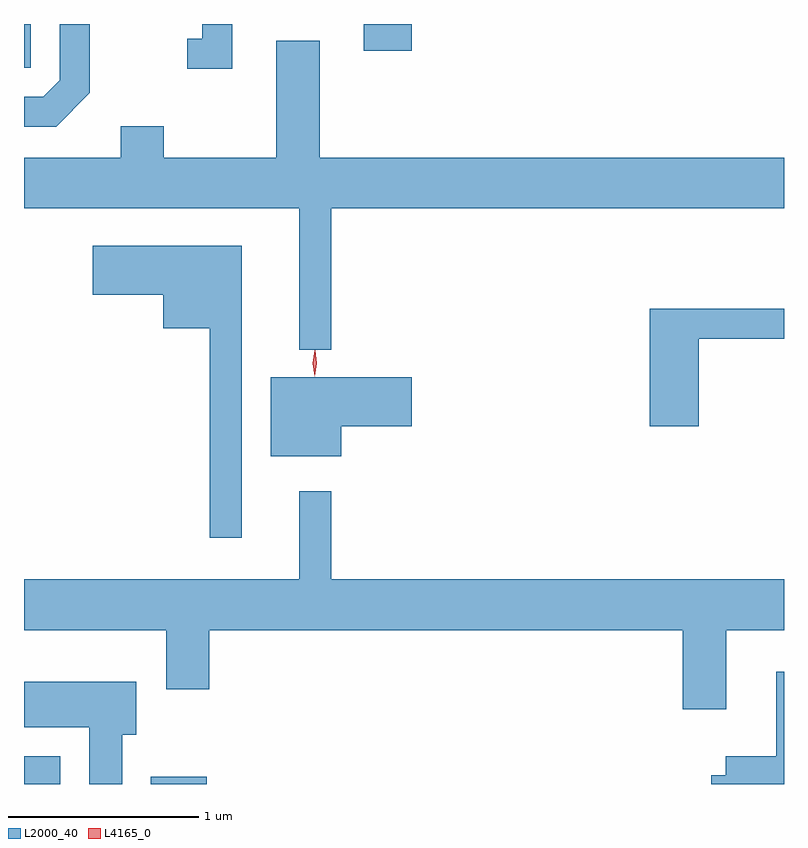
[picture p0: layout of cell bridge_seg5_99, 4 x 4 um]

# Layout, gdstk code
import gdstk
lib = gdstk.Library(unit=1e-6, precision=1e-09)
def R(c, l, rs):  # rectangles x0, y0, x1, y1
    for r in rs: c.add(gdstk.rectangle(r[:2], r[2:], *l))
def P(c, l, *ps):  # polygons
    for p in ps: c.add(gdstk.Polygon(p, *l))
L2000_40 = (2000, 40)
L4165_0 = (4165, 0)

bridge_seg5_99 = lib.new_cell('bridge_seg5_99')
R(bridge_seg5_99, L2000_40, [(1223.923,1484.847,1224.114,1484.994), (1224.591,1484.847,1224.884,1484.884), (1223.923,1488.616,1223.959,1488.847), (1225.711,1488.706,1225.964,1488.847)])
P(bridge_seg5_99, L2000_40, [(1224.269,1488.484),(1224.269,1488.847),(1224.111,1488.847),(1224.111,1488.552),(1224.024,1488.464),(1223.923,1488.464),(1223.923,1488.306),(1224.092,1488.306)],
  [(1225.019,1488.847),(1224.861,1488.847),(1224.861,1488.769),(1224.783,1488.769),(1224.783,1488.611),(1225.019,1488.611)],
  [(1225.539,1487.876),(1227.923,1487.876),(1227.923,1488.144),(1225.479,1488.144),(1225.479,1488.759),(1225.251,1488.759),(1225.251,1488.144),(1224.659,1488.144),(1224.659,1488.309),(1224.431,1488.309),(1224.431,1488.144),(1223.923,1488.144),(1223.923,1487.876),(1225.371,1487.876),(1225.371,1487.133),(1225.539,1487.133)],
  [(1225.069,1487.679),(1224.286,1487.679),(1224.286,1487.421),(1224.656,1487.421),(1224.656,1487.246),(1224.901,1487.246),(1224.901,1486.143),(1225.069,1486.143)],
  [(1227.474,1487.191),(1227.923,1487.191),(1227.923,1487.349),(1227.216,1487.349),(1227.216,1486.731),(1227.474,1486.731)],
  [(1225.594,1486.731),(1225.964,1486.731),(1225.964,1486.989),(1225.221,1486.989),(1225.221,1486.571),(1225.594,1486.571)],
  [(1227.619,1485.656),(1227.923,1485.656),(1227.923,1485.924),(1225.539,1485.924),(1225.539,1486.388),(1225.371,1486.388),(1225.371,1485.924),(1223.923,1485.924),(1223.923,1485.656),(1224.671,1485.656),(1224.671,1485.346),(1224.899,1485.346),(1224.899,1485.656),(1227.391,1485.656),(1227.391,1485.241),(1227.619,1485.241)],
  [(1227.923,1485.438),(1227.881,1485.438),(1227.881,1484.994),(1227.616,1484.994),(1227.616,1484.894),(1227.541,1484.894),(1227.541,1484.847),(1227.923,1484.847)],
  [(1224.439,1485.106),(1224.514,1485.106),(1224.514,1485.384),(1223.923,1485.384),(1223.923,1485.146),(1224.266,1485.146),(1224.266,1484.847),(1224.439,1484.847)])
P(bridge_seg5_99, L4165_0, [(1225.452,1487),(1225.452,1487.001),(1225.444,1487.064),(1225.454,1487.126),(1225.454,1487.127),(1225.455,1487.126),(1225.463,1487.063),(1225.453,1487.001)],
  [(1225.452,1486.994),(1225.444,1487.062),(1225.454,1487.13),(1225.454,1487.13),(1225.455,1487.13),(1225.464,1487.062),(1225.453,1486.994),(1225.453,1486.994)])

lib.write_gds('bridge_seg5_99.gds')
